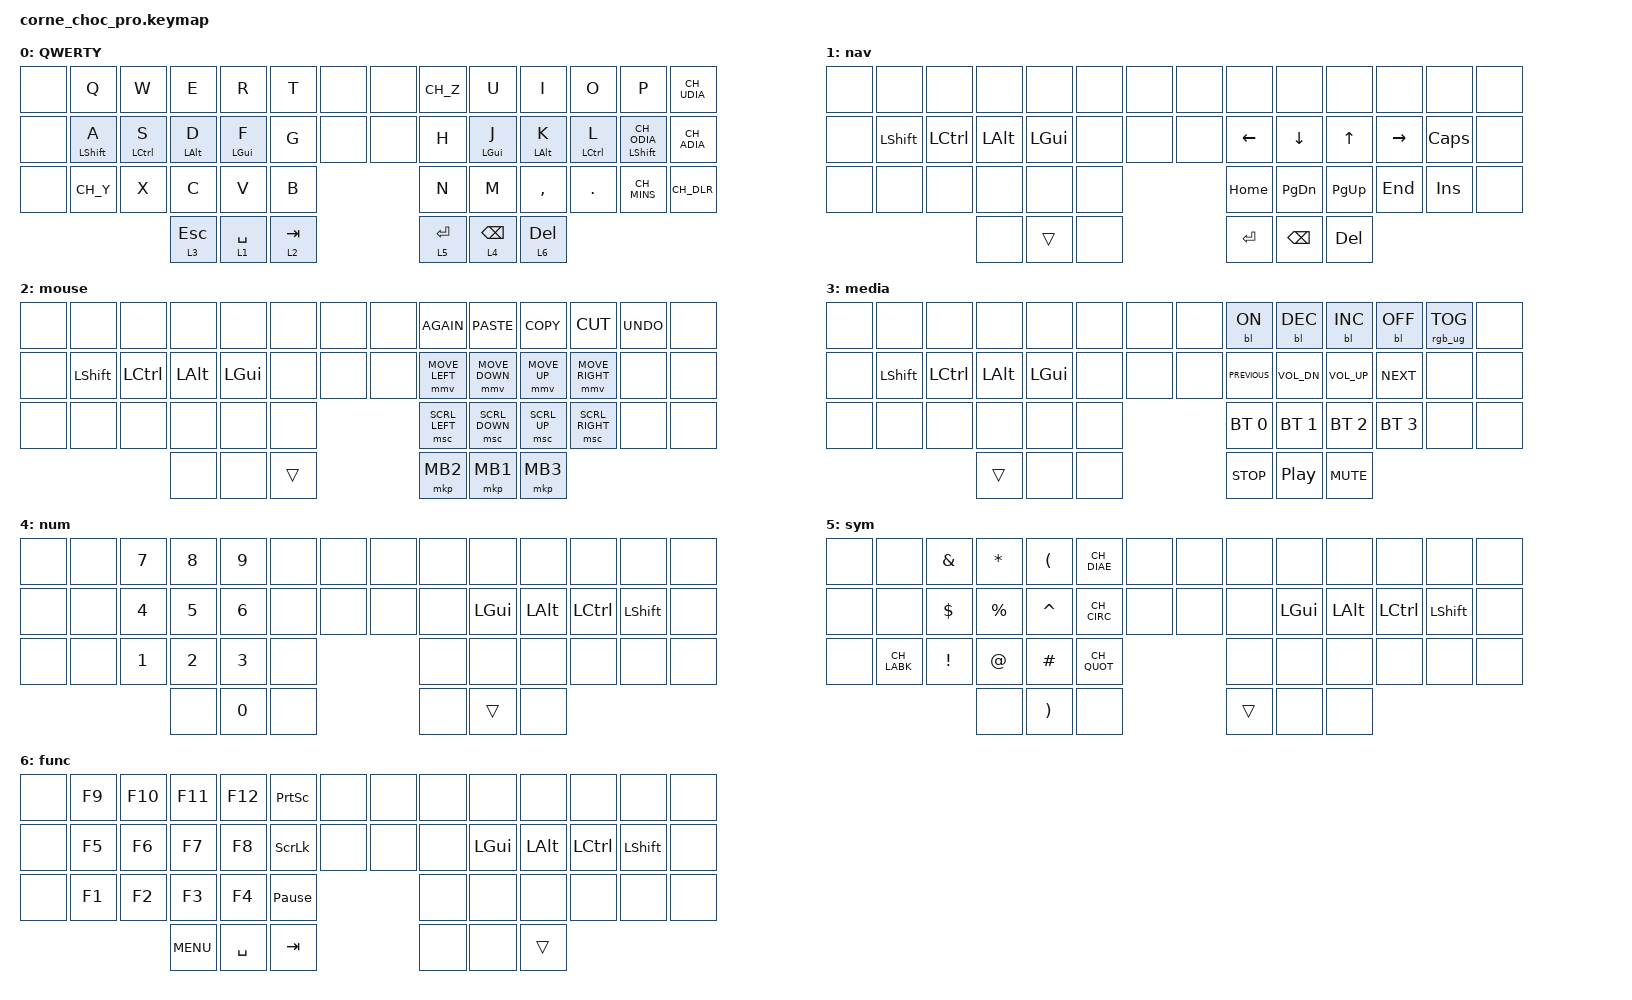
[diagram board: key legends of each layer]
/*
 * Copyright (c) 2020 The ZMK Contributors
 *
 * SPDX-License-Identifier: MIT
 */

#include <behaviors.dtsi>
#include <dt-bindings/zmk/backlight.h>
#include <dt-bindings/zmk/bt.h>
#include <dt-bindings/zmk/keys.h>
#include <dt-bindings/zmk/pointing.h>
#include "keymap_swiss_de.h"

&mt { tapping-term-ms = <300>; };

&lt { tapping-term-ms = <300>; };

/ {
    chosen { zmk,physical-layout = &default_layout; };
};

/ {
    keymap {
        compatible = "zmk,keymap";

        base {
            display-name = "QWERTY";

            // --------------------------------------------------------------------------------
            // |  TAB |  Q  |  W  |  E  |  R  |  T  |  MUTE |  PP   |  Y  |  U   |  I  |  O  |  P  | BSPC |
            // | CTRL |  A  |  S  |  D  |  F  |  G  |  LALT |  RALT |  H  |  J   |  K  |  L  |  ;  |  '   |
            // | SHFT |  Z  |  X  |  C  |  V  |  B  |               |  N  |  M   |  ,  |  .  |  /  | ESC  |
            //                    | GUI | LWR | SPC |               | ENT | RSE  | ALT |

            bindings = <
&none  &kp Q             &kp W               &kp E           &kp R           &kp T      &none  &none  &kp CH_Z        &kp U            &kp I           &kp O               &kp P                &kp CH_UDIA
&none  &mt LEFT_SHIFT A  &mt LEFT_CONTROL S  &mt LEFT_ALT D  &mt LEFT_GUI F  &kp G      &none  &none  &kp H        &mt LEFT_GUI J   &mt LEFT_ALT K  &mt LEFT_CONTROL L  &mt LEFT_SHIFT CH_ODIA  &kp CH_ADIA
&none  &kp CH_Y             &kp X               &kp C           &kp V           &kp B                    &kp N        &kp M            &kp COMMA       &kp DOT             &kp CH_MINS            &kp CH_DLR
                                             &lt 3 ESC       &lt 1 SPACE     &lt 2 TAB                &lt 5 ENTER  &lt 4 BACKSPACE  &lt 6 DELETE
            >;
        };

        nav {
            bindings = <
&none  &none           &none             &none         &none         &none  &none  &none  &none           &none           &none         &none            &none         &none
&none  &kp LEFT_SHIFT  &kp LEFT_CONTROL  &kp LEFT_ALT  &kp LEFT_GUI  &none  &none  &none  &kp LEFT_ARROW  &kp DOWN_ARROW  &kp UP_ARROW  &kp RIGHT_ARROW  &kp CAPSLOCK  &none
&none  &none           &none             &none         &none         &none                &kp HOME        &kp PAGE_DOWN   &kp PAGE_UP   &kp END          &kp INSERT    &none
                                         &none         &trans        &none                &kp ENTER       &kp BACKSPACE   &kp DELETE
            >;
        };

        mouse {
            bindings = <
&none  &none           &none             &none         &none         &none   &none  &none  &kp K_AGAIN     &kp K_PASTE     &kp K_COPY    &kp K_CUT        &kp K_UNDO  &none
&none  &kp LEFT_SHIFT  &kp LEFT_CONTROL  &kp LEFT_ALT  &kp LEFT_GUI  &none   &none  &none  &mmv MOVE_LEFT  &mmv MOVE_DOWN  &mmv MOVE_UP  &mmv MOVE_RIGHT  &none       &none
&none  &none           &none             &none         &none         &none                 &msc SCRL_LEFT  &msc SCRL_DOWN  &msc SCRL_UP  &msc SCRL_RIGHT  &none       &none
                                         &none         &none         &trans                &mkp MB2        &mkp MB1        &mkp MB3
            >;
        };

        media {
            bindings = <
&none  &none           &none             &none         &none         &none  &none  &none  &bl BL_ON       &bl BL_DEC        &bl BL_INC       &bl BL_OFF    &rgb_ug RGB_TOG  &none
&none  &kp LEFT_SHIFT  &kp LEFT_CONTROL  &kp LEFT_ALT  &kp LEFT_GUI  &none  &none  &none  &kp C_PREVIOUS  &kp C_VOL_DN      &kp C_VOLUME_UP  &kp C_NEXT    &none  &none
&none  &none           &none             &none         &none         &none                &bt BT_SEL 0    &bt BT_SEL 1      &bt BT_SEL 2     &bt BT_SEL 3  &none  &none
                                         &trans        &none         &none                &kp C_STOP      &kp C_PLAY_PAUSE  &kp K_MUTE
            >;
        };

        num {
            bindings = <
&none  &none  &kp NUMBER_7  &kp NUMBER_8  &kp NUMBER_9  &none  &none  &none  &none  &none         &none         &none      &none           &none
&none  &none  &kp NUMBER_4  &kp NUMBER_5  &kp NUMBER_6  &none  &none  &none  &none  &kp LEFT_GUI  &kp LEFT_ALT  &kp LCTRL  &kp LEFT_SHIFT  &none
&none  &none  &kp NUMBER_1  &kp NUMBER_2  &kp NUMBER_3  &none                &none  &none         &none         &none      &none           &none
                            &none         &kp NUMBER_0  &none                &none  &trans        &none
            >;
        };

        sym {
            bindings = <
&none  &none  &kp AMPERSAND    &kp ASTERISK  &kp LEFT_PARENTHESIS   &kp CH_DIAE  &none  &none  &none   &none         &none         &none      &none           &none
&none  &none  &kp DOLLAR       &kp PERCENT   &kp CARET              &kp CH_CIRC          &none  &none  &none   &kp LEFT_GUI  &kp LEFT_ALT  &kp LCTRL  &kp LEFT_SHIFT  &none
&none  &kp CH_LABK  &kp EXCLAMATION  &kp AT_SIGN   &kp POUND              &kp CH_QUOT                   &none   &none         &none         &none      &none           &none
                               &none         &kp RIGHT_PARENTHESIS  &none                            &trans  &none         &none
            >;
        };

        func {
            bindings = <
&none  &kp F9  &kp F10  &kp F11     &kp F12    &kp PRINTSCREEN  &none  &none  &none  &none         &none         &none      &none           &none
&none  &kp F5  &kp F6   &kp F7      &kp F8     &kp SCROLLLOCK   &none  &none  &none  &kp LEFT_GUI  &kp LEFT_ALT  &kp LCTRL  &kp LEFT_SHIFT  &none
&none  &kp F1  &kp F2   &kp F3      &kp F4     &kp PAUSE_BREAK                &none  &none         &none         &none      &none           &none
                        &kp K_MENU  &kp SPACE  &kp TAB                        &none  &none         &trans
            >;
        };
    };
};
